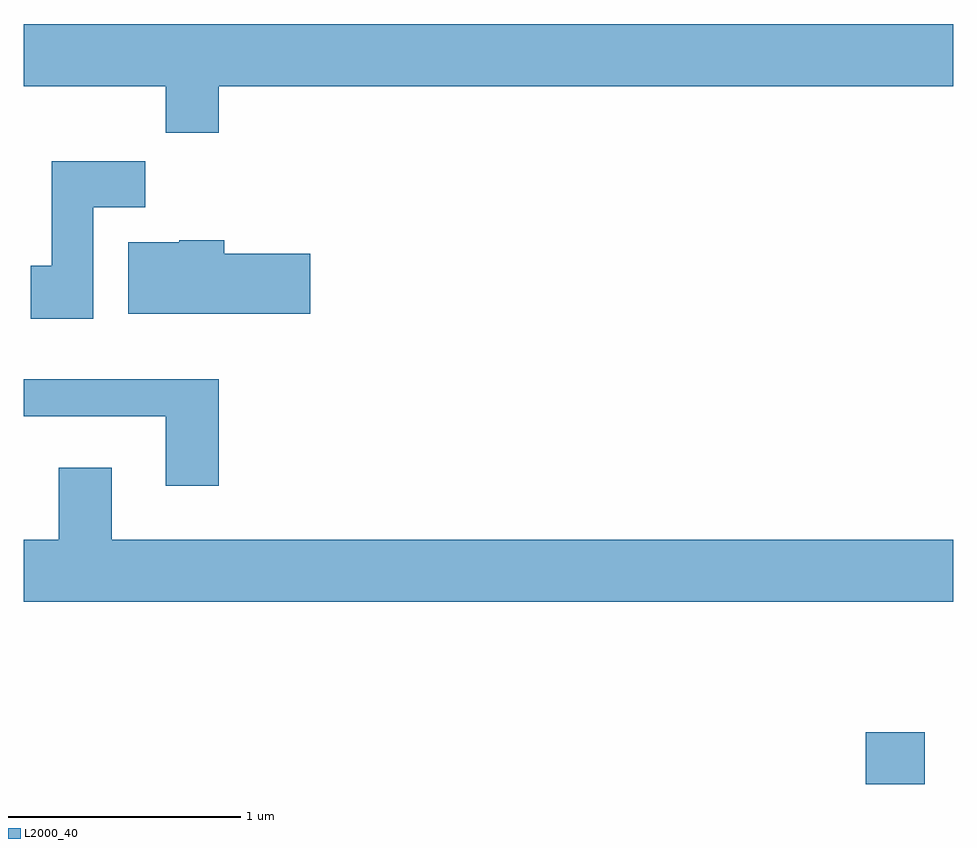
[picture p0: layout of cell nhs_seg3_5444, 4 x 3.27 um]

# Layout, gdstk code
import gdstk
lib = gdstk.Library(unit=1e-6, precision=1e-09)
def R(c, l, rs):  # rectangles x0, y0, x1, y1
    for r in rs: c.add(gdstk.rectangle(r[:2], r[2:], *l))
def P(c, l, *ps):  # polygons
    for p in ps: c.add(gdstk.Polygon(p, *l))
L2000_40 = (2000, 40)

nhs_seg3_5444 = lib.new_cell('nhs_seg3_5444')
R(nhs_seg3_5444, L2000_40, [(349.236,1131.892,349.489,1132.114)])
P(nhs_seg3_5444, L2000_40, [(346.449,1134.896),(349.611,1134.896),(349.611,1135.164),(345.611,1135.164),(345.611,1134.896),(346.221,1134.896),(346.221,1134.696),(346.449,1134.696)],
  [(345.909,1134.376),(346.134,1134.376),(346.134,1134.574),(345.731,1134.574),(345.731,1134.124),(345.641,1134.124),(345.641,1133.896),(345.909,1133.896)],
  [(346.844,1134.174),(346.474,1134.174),(346.474,1134.234),(346.28,1134.234),(346.28,1134.224),(346.061,1134.224),(346.061,1133.916),(346.844,1133.916)],
  [(346.449,1133.634),(345.611,1133.634),(345.611,1133.476),(346.221,1133.476),(346.221,1133.176),(346.449,1133.176)],
  [(349.611,1132.944),(345.989,1132.944),(345.989,1133.254),(345.761,1133.254),(345.761,1132.944),(345.611,1132.944),(345.611,1132.676),(349.611,1132.676)])

lib.write_gds('nhs_seg3_5444.gds')
